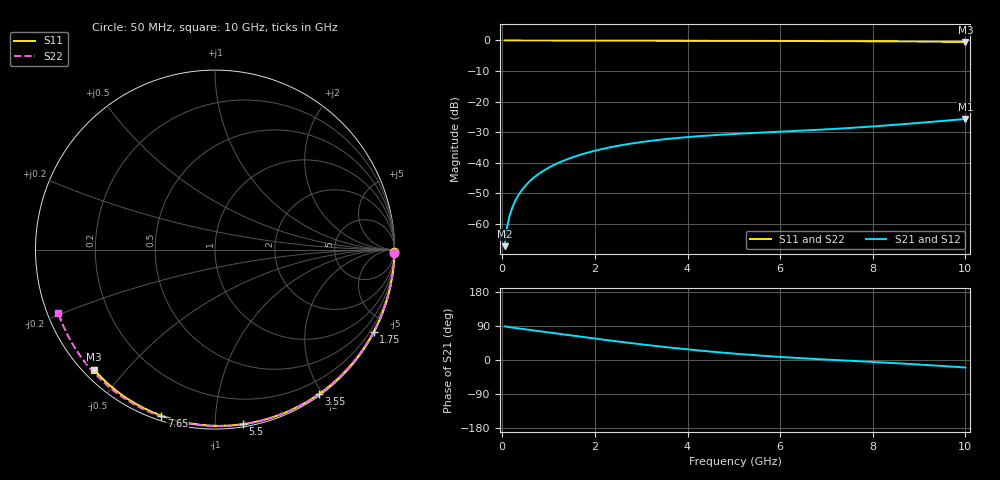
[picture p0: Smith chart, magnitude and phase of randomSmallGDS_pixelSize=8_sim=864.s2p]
! freq	dB(S11)	phase(S11)	dB(S12)	phase(S12)
!  dB(S21)	phase(S21)	dB(S22)	phase(S22)
!S-par simulation data
#  GHz  S  DB  R 50
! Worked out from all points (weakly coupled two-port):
!   200 points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, 50 MHz to 10 GHz, reference 50 ohm
!   highest |S21| = -25.69 dB at 10 GHz (marker M1); lowest = -67.3 dB at 50 MHz (marker M2)
!   lowest |S11| = -0.5 dB at 10 GHz (marker M3), VSWR 38.36, Z = 1.53 - j20.6 ohm
!   |S11| at or under -10 dB: nowhere
!   |S22| runs from -0.5 to 0.0 dB; largest |S21 - S12| = 0
!   S11 on the Smith chart (normalised r, x): 50 MHz: open; 1.75 GHz: 0.04, -4.10; 3.55 GHz: 0.02, -1.95; 5.5 GHz: 0.02, -1.17; 7.65 GHz: 0.02, -0.73; 10 GHz: 0.03, -0.41
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0.05  -0.00 -0.8  -67.28 88.8  -67.28 88.8  -0.00 -0.9
0.1  -0.00 -1.6  -61.29 87.7  -61.29 87.7  -0.00 -1.9
0.15  -0.00 -2.4  -57.80 86.7  -57.80 86.7  -0.00 -2.8
0.2  -0.00 -3.2  -55.34 85.8  -55.34 85.8  -0.00 -3.7
0.25  -0.00 -4.0  -53.43 84.9  -53.43 84.9  -0.00 -4.7
0.35  -0.00 -5.6  -50.55 83.3  -50.55 83.3  -0.00 -6.5
0.5  -0.01 -8.0  -47.50 80.8  -47.50 80.8  -0.01 -9.3
0.7  -0.01 -11.1  -44.64 77.6  -44.64 77.6  -0.01 -13.0
1  -0.02 -15.8  -41.63 72.6  -41.63 72.6  -0.02 -18.5
1.35  -0.03 -21.3  -39.15 66.9  -39.15 66.9  -0.03 -24.9
1.75  -0.04 -27.4  -37.08 60.4  -37.08 60.4  -0.04 -32.1
2.5  -0.05 -38.8  -34.45 48.7  -34.45 48.7  -0.06 -45.4
3.4  -0.07 -52.1  -32.48 35.8  -32.48 35.8  -0.08 -60.8
3.55  -0.07 -54.2  -32.24 33.8  -32.24 33.8  -0.09 -63.3
4.3  -0.09 -64.8  -31.25 24.5  -31.25 24.5  -0.11 -75.5
5.05  -0.12 -75.1  -30.54 16.4  -30.54 16.4  -0.14 -87.3
5.5  -0.13 -81.0  -30.19 12.2  -30.19 12.2  -0.15 -94.1
6.7  -0.19 -96.4  -29.32 3.0  -29.32 3.0  -0.22 -111.8
7.65  -0.24 -107.9  -28.48 -3.0  -28.48 -3.0  -0.28 -125.2
8.35  -0.30 -116.2  -27.74 -7.4  -27.74 -7.4  -0.34 -135.0
9.2  -0.37 -126.0  -26.71 -13.5  -26.71 -13.5  -0.43 -146.8
10  -0.45 -135.2  -25.69 -19.9  -25.69 -19.9  -0.52 -158.1
